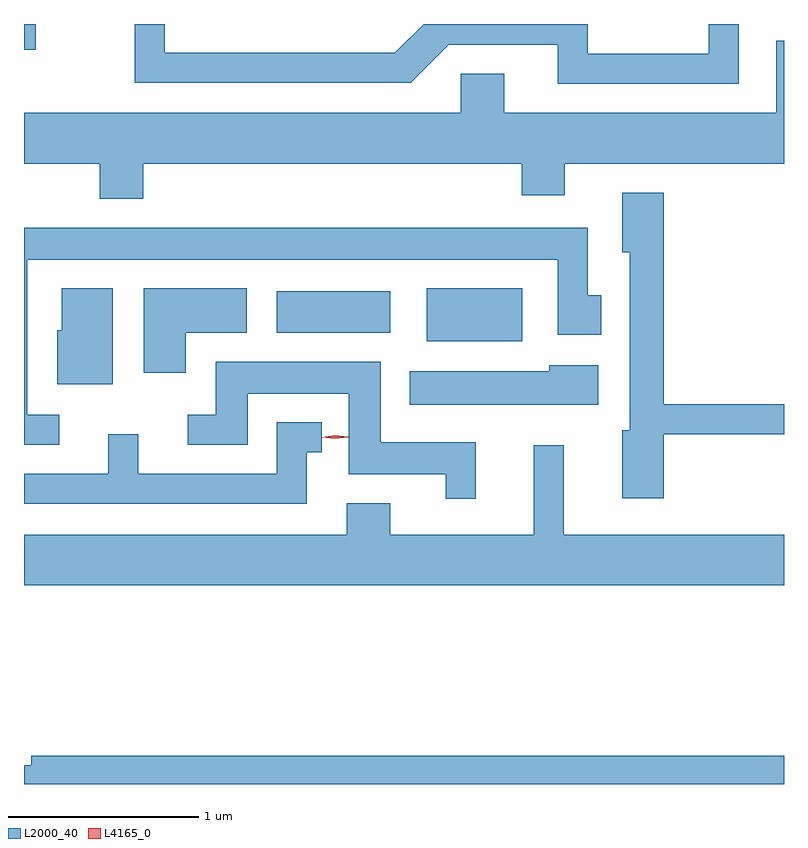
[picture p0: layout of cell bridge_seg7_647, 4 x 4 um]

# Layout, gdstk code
import gdstk
lib = gdstk.Library(unit=1e-6, precision=1e-09)
def R(c, l, rs):  # rectangles x0, y0, x1, y1
    for r in rs: c.add(gdstk.rectangle(r[:2], r[2:], *l))
def P(c, l, *ps):  # polygons
    for p in ps: c.add(gdstk.Polygon(p, *l))
L2000_40 = (2000, 40)
L4165_0 = (4165, 0)

bridge_seg7_647 = lib.new_cell('bridge_seg7_647')
R(bridge_seg7_647, L2000_40, [(886.171,1711.161,886.674,1711.439), (885.381,1711.206,885.979,1711.424), (884.052,1712.696,884.114,1712.831)])
P(bridge_seg7_647, L2000_40, [(887.814,1712.831),(887.656,1712.831),(887.656,1712.674),(887.019,1712.674),(887.019,1712.831),(886.156,1712.831),(886.004,1712.679),(884.794,1712.679),(884.794,1712.831),(884.636,1712.831),(884.636,1712.521),(886.087,1712.521),(886.287,1712.721),(886.861,1712.721),(886.861,1712.516),(887.814,1712.516)],
  [(884.679,1712.096),(886.671,1712.096),(886.671,1711.931),(886.899,1711.931),(886.899,1712.096),(888.052,1712.096),(888.052,1712.744),(888.011,1712.744),(888.011,1712.364),(886.579,1712.364),(886.579,1712.569),(886.351,1712.569),(886.351,1712.364),(884.052,1712.364),(884.052,1712.096),(884.451,1712.096),(884.451,1711.911),(884.679,1711.911)],
  [(887.419,1710.671),(888.052,1710.671),(888.052,1710.829),(887.419,1710.829),(887.419,1711.944),(887.201,1711.944),(887.201,1711.631),(887.241,1711.631),(887.241,1710.694),(887.201,1710.694),(887.201,1710.336),(887.419,1710.336)],
  [(884.238,1710.774),(884.069,1710.774),(884.069,1711.591),(886.861,1711.591),(886.861,1711.196),(887.089,1711.196),(887.089,1711.404),(887.019,1711.404),(887.019,1711.759),(884.052,1711.759),(884.052,1710.616),(884.238,1710.616)],
  [(884.904,1711.206),(885.224,1711.206),(885.224,1711.439),(884.681,1711.439),(884.681,1710.996),(884.904,1710.996)],
  [(884.519,1711.439),(884.251,1711.439),(884.251,1711.219),(884.226,1711.219),(884.226,1710.936),(884.519,1710.936)],
  [(886.429,1710.629),(885.929,1710.629),(885.929,1711.054),(885.061,1711.054),(885.061,1710.774),(884.913,1710.774),(884.913,1710.616),(885.229,1710.616),(885.229,1710.886),(885.761,1710.886),(885.761,1710.461),(886.271,1710.461),(886.271,1710.333),(886.429,1710.333)],
  [(887.074,1711.034),(886.816,1711.034),(886.816,1711.004),(886.081,1711.004),(886.081,1710.826),(887.074,1710.826)],
  [(885.539,1710.576),(885.618,1710.576),(885.618,1710.734),(885.381,1710.734),(885.381,1710.464),(884.654,1710.464),(884.654,1710.673),(884.496,1710.673),(884.496,1710.464),(884.052,1710.464),(884.052,1710.306),(885.539,1710.306)],
  [(888.052,1710.144),(886.894,1710.144),(886.894,1710.613),(886.736,1710.613),(886.736,1710.144),(885.979,1710.144),(885.979,1710.309),(885.751,1710.309),(885.751,1710.144),(884.052,1710.144),(884.052,1709.876),(888.052,1709.876)],
  [(888.052,1708.979),(884.091,1708.979),(884.091,1708.929),(884.052,1708.929),(884.052,1708.831),(888.052,1708.831)])
P(bridge_seg7_647, L4165_0, [(885.688,1710.647),(885.619,1710.656),(885.619,1710.656),(885.619,1710.657),(885.688,1710.667),(885.758,1710.658),(885.758,1710.657),(885.758,1710.657)])

lib.write_gds('bridge_seg7_647.gds')
